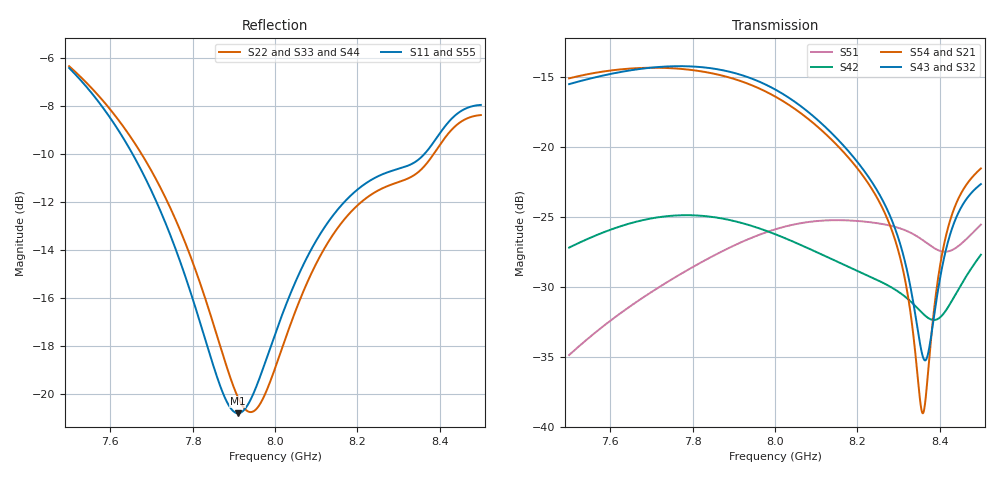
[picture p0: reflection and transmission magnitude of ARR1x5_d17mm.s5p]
! Touchstone file exported from HFSS 2025.1.0
!  File:  C:/Users/user/Documents/Ansoft/TFG_UWB-MIMO-Array.aedt
!  Generated:  04:10:07 PM Nov 20, 2026
!  Design:  ARR1x5_US3_PS6_4_dparam
!  Project:  TFG_UWB-MIMO-Array
!  Setup:  Setup_ch9
!  Solution:  Sweep_7p5_8p5
! Variables:
!  arr_d = 17mm
!  board_m = 13mm
!  board_x = 94mm
!  board_y = 26mm
!  cu_t = 0.035mm
!  line_w = 3.92mm
!  pad_xy = 22mm
!  pad_zn = 25mm
!  pad_zp = 33mm
!  par_L = 7.05mm
!  par_W = 13.58mm
!  par_yc = 0.615mm
!  par_z = 1.035mm
!  patch_L = 6.29mm
!  patch_W = 14mm
!  sub_h = 2.07mm
!  tr_l = 7.25mm
!  tr_w = 1mm
!  u_Lu = 2.65mm
!  u_Wu = 4.4mm
!  u_t = 0.8mm
!  u_y0 = -0.7mm
# GHz S MA R 50.000000
! Terminal data exported
! Port[1] = P1
! Port[2] = P2
! Port[3] = P3
! Port[4] = P4
! Port[5] = P5
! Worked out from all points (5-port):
!   1001 points, 7.5 GHz to 8.5 GHz, reference 50 ohm
!   strongest paths, dB at 7.5 GHz, 7.75 GHz, 8 GHz, 8.25 GHz, 8.5 GHz:
!     S43: -15.5, -14.2, -15.9, -23.2, -22.6
!     S32: -15.5, -14.2, -15.9, -23.2, -22.6
!     S54: -15.1, -14.3, -16.4, -23.7, -21.5
!     S21: -15.1, -14.4, -16.4, -23.7, -21.6
!     S42: -27.2, -24.9, -26.2, -29.5, -27.7
!     S51: -34.9, -29.4, -25.9, -25.4, -25.5
!   lowest |S11| = -20.8 dB at 7.91 GHz (marker M1), VSWR 1.20, Z = 59.6 - j2.87 ohm
!   |S11| at or under -10 dB: 7.654 GHz to 8.363 GHz (709 MHz wide, 8.85 % of centre)
